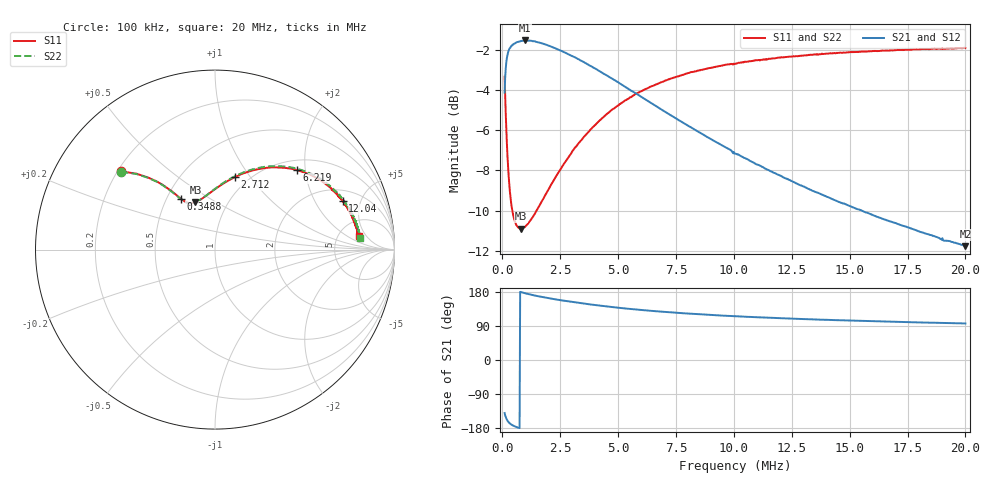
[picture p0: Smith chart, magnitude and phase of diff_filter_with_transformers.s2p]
#  HZ  S  DB  R  50.0
! Rohde & Schwarz ZVL13 2Ports - Version 3.32 - 1303.6509k13 SN: 100950
! Date: 2021-08-05 11:43:53
! Messung-Serienkreis ----c-L 8MHz
! Data & Calibration Information:
! Trc1:S11(TOSM) Trc2:S21(TOSM) Trc3:S12(TOSM) Trc4:S22(TOSM)
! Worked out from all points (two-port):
!   801 points, 100 kHz to 20 MHz, reference 50 ohm
!   highest |S21| = -1.52 dB at 995.5 kHz (marker M1); lowest = -11.8 dB at 20 MHz (marker M2)
!   |S21| within 3 dB of the highest: start of sweep to 6.262 MHz
!   lowest |S11| = -10.9 dB at 796.5 kHz (marker M3), VSWR 1.80, Z = 35.3 + j20.2 ohm
!   |S11| at or under -10 dB: 432.8 kHz to 1.477 MHz (1.045 MHz wide, 109 % of centre)
!   |S22| runs from -10.9 to -1.8 dB; largest |S21 - S12| = 0.005
!   S11 on the Smith chart (normalised r, x): 100 kHz: 0.21, +0.35; 348.8 kHz: 0.59, +0.38; 2.712 MHz: 0.86, +0.84; 6.219 MHz: 1.21, +1.80; 12.04 MHz: 2.69, +3.46; 20 MHz: 7.74, +3.31
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100000  -3.33 140.2  -4.12 -140.1  -4.13 -140.1  -3.36 140.3
174625  -5.99 130.6  -2.60 -154.6  -2.61 -154.6  -6.01 130.8
249250  -7.80 126.6  -2.12 -162.4  -2.12 -162.3  -7.82 126.9
299000  -8.64 125.2  -1.95 -165.8  -1.96 -165.8  -8.66 125.3
348750  -9.29 124.0  -1.88 -168.5  -1.87 -168.5  -9.28 124.3
423375  -9.94 122.3  -1.77 -171.6  -1.75 -171.6  -9.92 122.6
522875  -10.46 119.9  -1.68 -174.7  -1.67 -174.7  -10.46 120.1
796500  -10.91 112.5  -1.56 179.3  -1.54 179.3  -10.89 112.7
995500  -10.79 107.1  -1.52 176.0  -1.51 175.9  -10.79 107.2
1368625  -10.22 97.9  -1.56 170.6  -1.55 170.5  -10.22 98.2
1766625  -9.42 89.6  -1.68 165.7  -1.67 165.6  -9.41 90.1
2711875  -7.58 74.8  -2.13 156.0  -2.12 155.9  -7.53 75.4
3433250  -6.47 66.4  -2.55 149.6  -2.55 149.5  -6.40 66.9
4701875  -5.01 54.7  -3.40 140.0  -3.39 140.0  -4.92 55.0
6219250  -3.93 44.1  -4.49 130.8  -4.48 130.8  -3.83 44.3
6741625  -3.67 41.2  -4.87 128.2  -4.85 128.2  -3.56 41.3
8234125  -3.09 33.7  -5.92 121.7  -5.88 121.6  -2.99 33.8
1.005e7  -2.69 26.8  -7.16 115.7  -7.12 115.5  -2.58 26.6
1.204e7  -2.37 20.8  -8.28 110.2  -8.22 109.9  -2.27 20.4
1.338325e7  -2.23 17.5  -9.01 107.2  -8.93 106.8  -2.13 16.9
1.669162e7  -2.03 10.8  -10.51 101.3  -10.42 100.6  -1.92 10.2
2e7  -1.90 5.4  -11.77 96.4  -11.70 95.7  -1.79 4.7
